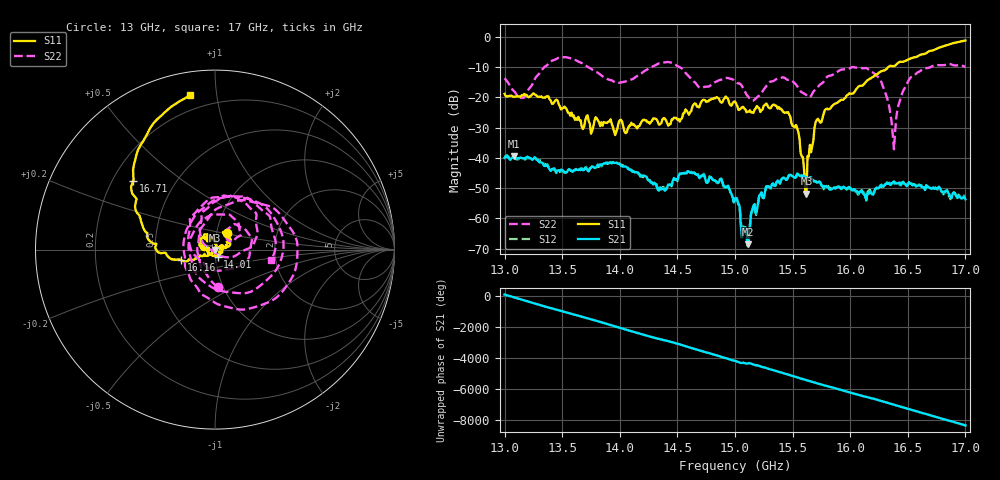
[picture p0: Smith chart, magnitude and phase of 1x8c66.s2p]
!Keysight Technologies,P9374A,MY57211807,A.19.30.04
!Date: Friday, May 08, 2026 15:13:15
!Correction: S11(C  2-Port  )
!S21(C  2-Port  )
!S12(C  2-Port  )
!S22(C  2-Port  )
!S2P File: Measurements: S11, S21, S12, S22:
# Hz S  dB  R 50
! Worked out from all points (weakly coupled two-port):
!   401 points, 13 GHz to 17 GHz, reference 50 ohm
!   highest |S21| = -39.37 dB at 13.08 GHz (marker M1); lowest = -68.5 dB at 15.11 GHz (marker M2)
!   lowest |S11| = -51.8 dB at 15.62 GHz (marker M3), VSWR 1.01, Z = 50 - j0.254 ohm
!   |S11| at or under -10 dB: start of sweep to 16.33 GHz
!   |S22| runs from -37.1 to -6.7 dB; largest |S21 - S12| = 0.00083
!   S11 on the Smith chart (normalised r, x): 13 GHz: 1.12, +0.21; 14.01 GHz: 1.03, -0.08; 16.16 GHz: 0.68, -0.08; 16.71 GHz: 0.28, +0.34; 17 GHz: 0.12, +0.85
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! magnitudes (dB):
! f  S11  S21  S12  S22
! 13 GHz  -18.8  -40.0  -39.7  -13.7
! 13.08 GHz  -19.8  -39.4  -39.5  -17.9
! 13.17 GHz  -18.9  -40.1  -40.4  -20.0
! 13.46 GHz  -21.0  -44.1  -44.7  -7.0
! 13.67 GHz  -29.8  -43.6  -43.5  -8.7
! 14.01 GHz  -27.4  -42.6  -42.2  -15.1
! 14.34 GHz  -29.0  -50.8  -50.4  -8.7
! 14.61 GHz  -24.9  -44.9  -44.8  -13.5
! 15 GHz  -21.3  -53.3  -53.1  -14.6
! 15.11 GHz  -24.7  -68.5  -69.1  -19.6
! 15.22 GHz  -24.8  -52.1  -52.1  -19.0
! 15.46 GHz  -24.9  -46.4  -46.3  -14.2
! 15.54 GHz  -30.1  -45.3  -45.1  -16.3
! 15.62 GHz  -51.8  -46.4  -46.3  -19.2
! 15.67 GHz  -36.1  -47.1  -47.4  -18.8
! 15.79 GHz  -23.9  -49.4  -49.3  -13.6
! 16.16 GHz  -14.1  -51.9  -50.9  -10.8
! 16.34 GHz  -9.8  -48.2  -48.6  -23.4
! 16.38 GHz  -9.7  -47.8  -48.4  -37.1
! 16.5 GHz  -7.6  -48.9  -48.5  -14.9
! 16.71 GHz  -4.5  -50.2  -49.8  -9.7
! 17 GHz  -1.2  -53.6  -52.7  -10.0
